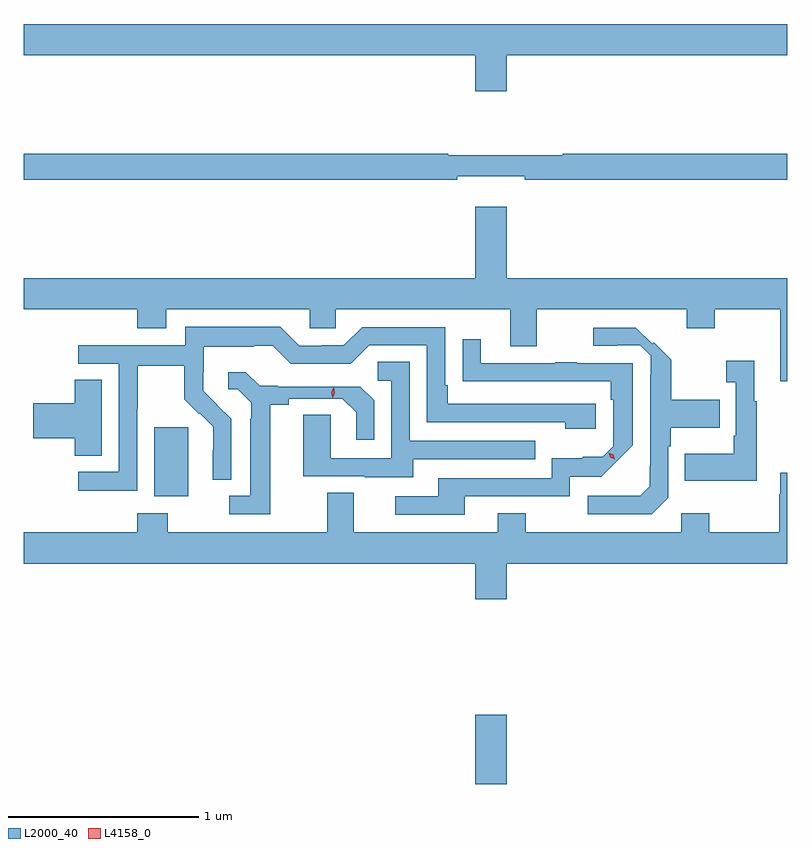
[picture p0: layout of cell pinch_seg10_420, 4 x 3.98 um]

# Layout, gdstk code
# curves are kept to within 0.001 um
import gdstk
lib = gdstk.Library(unit=1e-6, precision=1e-09)
def R(c, l, rs):  # rectangles x0, y0, x1, y1
    for r in rs: c.add(gdstk.rectangle(r[:2], r[2:], *l))
def P(c, l, *ps):  # polygons
    for p in ps: c.add(gdstk.Polygon(p, *l))
L2000_40 = (2000, 40)
L4158_0 = (4158, 0)

pinch_seg10_420 = lib.new_cell('pinch_seg10_420')
R(pinch_seg10_420, L2000_40, [(356.816,1311.149,356.98,1311.511), (355.133,1312.658,355.312,1313.019)])
P(pinch_seg10_420, L2000_40, [(356.98,1314.968),(358.45,1314.968),(358.45,1315.132),(354.45,1315.132),(354.45,1314.968),(356.816,1314.968),(356.816,1314.78),(356.98,1314.78)],
  [(356.72,1314.335),(357.076,1314.335),(357.076,1314.316),(358.45,1314.316),(358.45,1314.452),(357.274,1314.452),(357.274,1314.445),(356.674,1314.445),(356.674,1314.452),(354.45,1314.452),(354.45,1314.316),(356.72,1314.316)],
  [(358.45,1313.8),(356.98,1313.8),(356.98,1314.175),(356.816,1314.175),(356.816,1313.8),(354.45,1313.8),(354.45,1313.636),(355.043,1313.636),(355.043,1313.537),(355.195,1313.537),(355.195,1313.636),(355.947,1313.636),(355.947,1313.538),(356.085,1313.538),(356.085,1313.636),(356.999,1313.636),(356.999,1313.442),(357.139,1313.442),(357.139,1313.636),(357.923,1313.636),(357.923,1313.537),(358.071,1313.537),(358.071,1313.636),(358.415,1313.636),(358.415,1313.259),(358.45,1313.259)],
  [(355.044,1313.116),(355.047,1313.116),(355.047,1313.34),(355.291,1313.34),(355.291,1313.165),(355.368,1313.088),(355.371,1313.091),(355.442,1313.021),(355.442,1312.898),(355.44,1312.898),(355.44,1312.744),(355.536,1312.744),(355.536,1313.062),(355.391,1313.209),(355.392,1313.441),(355.655,1313.441),(355.655,1313.445),(355.754,1313.445),(355.848,1313.351),(356.066,1313.351),(356.163,1313.352),(356.259,1313.448),(356.562,1313.448),(356.562,1313.046),(357.287,1313.046),(357.287,1313.012),(357.448,1313.012),(357.448,1313.142),(356.671,1313.142),(356.671,1313.239),(356.658,1313.239),(356.658,1313.544),(356.223,1313.544),(356.127,1313.448),(356.009,1313.448),(356.009,1313.445),(355.893,1313.445),(355.793,1313.545),(355.296,1313.545),(355.296,1313.448),(354.735,1313.448),(354.735,1313.352),(354.948,1313.352),(354.948,1312.785),(354.735,1312.785),(354.735,1312.687),(355.044,1312.687)],
  [(357.828,1312.65),(357.828,1312.919),(357.841,1312.919),(357.841,1313.015),(358.097,1313.015),(358.097,1313.163),(357.843,1313.163),(357.843,1313.373),(357.752,1313.465),(357.742,1313.455),(357.656,1313.541),(357.435,1313.541),(357.435,1313.445),(357.559,1313.445),(357.559,1313.448),(357.681,1313.448),(357.735,1313.394),(357.735,1313.294),(357.732,1313.294),(357.731,1312.709),(357.681,1312.659),(357.405,1312.659),(357.405,1312.563),(357.741,1312.563)],
  [(356.761,1312.656),(357.312,1312.656),(357.312,1312.758),(357.475,1312.758),(357.642,1312.925),(357.642,1313.355),(357.347,1313.355),(357.347,1313.36),(357.235,1313.36),(357.235,1313.355),(356.845,1313.355),(356.845,1313.479),(356.749,1313.479),(356.749,1313.26),(357.526,1313.259),(357.526,1313.162),(357.54,1313.162),(357.54,1312.919),(357.485,1312.864),(357.378,1312.864),(357.378,1312.855),(357.216,1312.855),(357.216,1312.752),(356.621,1312.752),(356.621,1312.656),(356.397,1312.656),(356.397,1312.56),(356.761,1312.56)],
  [(358.291,1313.155),(358.279,1313.155),(358.279,1313.368),(358.131,1313.368),(358.131,1313.255),(358.182,1313.255),(358.182,1312.975),(358.17,1312.975),(358.17,1312.879),(357.913,1312.879),(357.913,1312.739),(358.291,1312.739)],
  [(356.491,1312.851),(357.131,1312.851),(357.131,1312.947),(356.472,1312.947),(356.472,1313.363),(356.304,1313.363),(356.304,1313.263),(356.376,1313.263),(356.376,1312.857),(356.058,1312.857),(356.058,1313.084),(355.913,1313.084),(355.913,1312.761),(356.237,1312.761),(356.237,1312.757),(356.491,1312.757)],
  [(355.741,1313.136),(355.837,1313.136),(355.837,1313.169),(356.118,1313.169),(356.192,1313.096),(356.192,1312.953),(356.286,1312.953),(356.286,1313.16),(356.214,1313.232),(355.78,1313.232),(355.78,1313.235),(355.685,1313.235),(355.613,1313.307),(355.521,1313.307),(355.521,1313.217),(355.571,1313.217),(355.641,1313.147),(355.641,1313.063),(355.637,1313.063),(355.637,1312.659),(355.527,1312.659),(355.527,1312.563),(355.741,1312.563)],
  [(354.859,1313.267),(354.716,1313.267),(354.716,1313.144),(354.498,1313.144),(354.498,1312.961),(354.716,1312.961),(354.716,1312.87),(354.859,1312.87)],
  [(356.98,1312.304),(358.45,1312.304),(358.45,1312.78),(358.415,1312.78),(358.415,1312.667),(358.408,1312.667),(358.408,1312.468),(358.041,1312.468),(358.041,1312.567),(357.894,1312.567),(357.894,1312.468),(357.081,1312.468),(357.081,1312.567),(356.933,1312.567),(356.933,1312.468),(356.179,1312.468),(356.179,1312.676),(356.039,1312.676),(356.039,1312.468),(355.203,1312.468),(355.203,1312.567),(355.043,1312.567),(355.043,1312.468),(354.45,1312.468),(354.45,1312.304),(356.816,1312.304),(356.816,1312.116),(356.98,1312.116)])
P(pinch_seg10_420, L4158_0, [(357.547,1312.851),(357.524,1312.861),(357.515,1312.884),(357.515,1312.884),(357.516,1312.884),(357.538,1312.875),(357.547,1312.851),(357.547,1312.851)],
  [(356.068,1313.174),(356.068,1313.174),(356.06,1313.202),(356.073,1313.228),(356.073,1313.228),(356.073,1313.228),(356.08,1313.2),(356.068,1313.174)])

lib.write_gds('pinch_seg10_420.gds')
